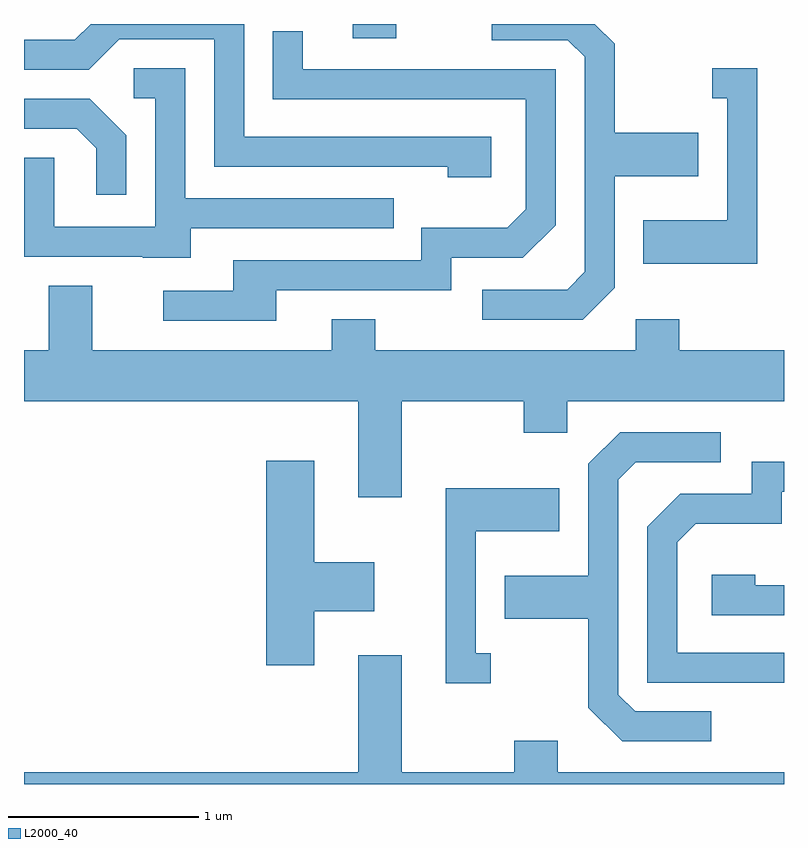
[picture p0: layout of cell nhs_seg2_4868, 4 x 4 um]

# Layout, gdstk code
import gdstk
lib = gdstk.Library(unit=1e-6, precision=1e-09)
def R(c, l, rs):  # rectangles x0, y0, x1, y1
    for r in rs: c.add(gdstk.rectangle(r[:2], r[2:], *l))
def P(c, l, *ps):  # polygons
    for p in ps: c.add(gdstk.Polygon(p, *l))
L2000_40 = (2000, 40)

nhs_seg2_4868 = lib.new_cell('nhs_seg2_4868')
R(nhs_seg2_4868, L2000_40, [(329.341,1105.726,329.569,1105.802)])
P(nhs_seg2_4868, L2000_40, [(330.719,1104.414),(330.719,1105.001),(331.159,1105.001),(331.159,1105.229),(330.719,1105.229),(330.719,1105.697),(330.614,1105.802),(330.073,1105.802),(330.073,1105.716),(330.474,1105.716),(330.561,1105.629),(330.561,1104.497),(330.469,1104.404),(330.023,1104.404),(330.023,1104.246),(330.552,1104.246)],
  [(330.069,1105.209),(328.769,1105.209),(328.769,1105.802),(327.962,1105.802),(327.879,1105.719),(327.611,1105.719),(327.611,1105.561),(327.952,1105.561),(328.112,1105.721),(328.611,1105.721),(328.611,1105.051),(329.841,1105.051),(329.841,1104.996),(330.069,1104.996)],
  [(328.939,1104.401),(329.859,1104.401),(329.859,1104.571),(330.237,1104.571),(330.409,1104.744),(330.409,1105.564),(329.079,1105.564),(329.079,1105.763),(328.921,1105.763),(328.921,1105.406),(330.251,1105.406),(330.251,1104.827),(330.154,1104.729),(329.701,1104.729),(329.701,1104.559),(328.711,1104.559),(328.711,1104.399),(328.343,1104.399),(328.343,1104.241),(328.939,1104.241)],
  [(328.489,1104.726),(329.558,1104.726),(329.558,1104.884),(328.459,1104.884),(328.459,1105.569),(328.188,1105.569),(328.188,1105.411),(328.301,1105.411),(328.301,1104.734),(327.769,1104.734),(327.769,1105.099),(327.611,1105.099),(327.611,1104.576),(328.235,1104.576),(328.235,1104.571),(328.489,1104.571)],
  [(331.469,1105.569),(331.233,1105.569),(331.233,1105.411),(331.311,1105.411),(331.311,1104.769),(330.871,1104.769),(330.871,1104.541),(331.469,1104.541)],
  [(328.149,1105.217),(327.957,1105.409),(327.611,1105.409),(327.611,1105.251),(327.889,1105.251),(327.991,1105.149),(327.991,1104.903),(328.149,1104.903)],
  [(329.599,1103.816),(330.241,1103.816),(330.241,1103.651),(330.469,1103.651),(330.469,1103.816),(331.611,1103.816),(331.611,1104.084),(331.059,1104.084),(331.059,1104.249),(330.831,1104.249),(330.831,1104.084),(329.459,1104.084),(329.459,1104.249),(329.231,1104.249),(329.231,1104.084),(327.969,1104.084),(327.969,1104.424),(327.741,1104.424),(327.741,1104.084),(327.611,1104.084),(327.611,1103.816),(329.371,1103.816),(329.371,1103.311),(329.599,1103.311)],
  [(331.228,1102.184),(330.827,1102.184),(330.739,1102.272),(330.739,1103.404),(330.832,1103.496),(331.278,1103.496),(331.278,1103.654),(330.749,1103.654),(330.581,1103.487),(330.581,1102.899),(330.141,1102.899),(330.141,1102.671),(330.581,1102.671),(330.581,1102.204),(330.759,1102.026),(331.228,1102.026)],
  [(329.139,1102.711),(329.454,1102.711),(329.454,1102.969),(329.139,1102.969),(329.139,1103.504),(328.886,1103.504),(328.886,1102.426),(329.139,1102.426)],
  [(331.611,1102.494),(331.049,1102.494),(331.049,1103.074),(331.147,1103.171),(331.599,1103.171),(331.599,1103.341),(331.611,1103.341),(331.611,1103.499),(331.441,1103.499),(331.441,1103.329),(331.064,1103.329),(330.891,1103.157),(330.891,1102.336),(331.611,1102.336)],
  [(330.068,1102.489),(329.989,1102.489),(329.989,1103.131),(330.429,1103.131),(330.429,1103.359),(329.831,1103.359),(329.831,1102.331),(330.068,1102.331)],
  [(331.611,1102.849),(331.459,1102.849),(331.459,1102.904),(331.231,1102.904),(331.231,1102.691),(331.611,1102.691)],
  [(331.611,1101.864),(330.419,1101.864),(330.419,1102.029),(330.191,1102.029),(330.191,1101.864),(329.599,1101.864),(329.599,1102.479),(329.371,1102.479),(329.371,1101.864),(327.611,1101.864),(327.611,1101.802),(331.611,1101.802)])

lib.write_gds('nhs_seg2_4868.gds')
